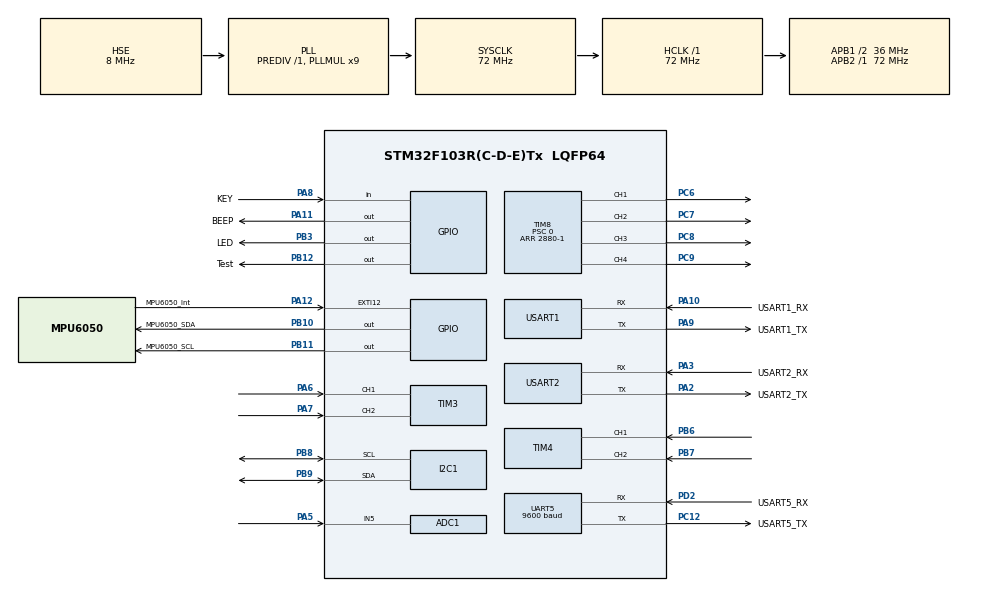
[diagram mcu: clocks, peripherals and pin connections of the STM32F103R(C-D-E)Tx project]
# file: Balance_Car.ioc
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ADC1.Channel-0\#ChannelRegularConversion=ADC_CHANNEL_5
ADC1.NbrOfConversionFlag=1
ADC1.Rank-0\#ChannelRegularConversion=1
ADC1.SamplingTime-0\#ChannelRegularConversion=ADC_SAMPLETIME_28CYCLES_5
ADC1.master=1
I2C1.DualAddressMode=I2C_DUALADDRESS_DISABLE
I2C1.I2C_Mode=I2C_Fast
I2C1.OwnAddress=0x01
Mcu.Family=STM32F1
Mcu.Name=STM32F103R(C-D-E)Tx
Mcu.Package=LQFP64
NVIC.EXTI15_10_IRQn=true\:3\:2\:true\:false\:true\:true\:true\:true
NVIC.PriorityGroup=NVIC_PRIORITYGROUP_2
NVIC.TIM2_IRQn=true\:2\:1\:true\:false\:true\:true\:true\:true
NVIC.UART5_IRQn=true\:1\:2\:true\:false\:true\:true\:true\:true
NVIC.USART1_IRQn=true\:1\:2\:true\:false\:true\:true\:true\:true
NVIC.USART2_IRQn=true\:1\:0\:true\:false\:true\:true\:true\:true
PA0-WKUP.Signal=S_TIM2_CH1_ETR
PA10.GPIO_Label=USART1_RX
PA10.Mode=Asynchronous
PA10.Signal=USART1_RX
PA11.GPIO_Label=BEEP
PA11.Signal=GPIO_Output
PA12.GPIO_Label=MPU6050_Int
PA12.GPIO_ModeDefaultEXTI=GPIO_MODE_IT_RISING
PA12.GPIO_PuPd=GPIO_PULLUP
PA12.Signal=GPXTI12
PA2.GPIO_Label=USART2_TX
PA2.Mode=Asynchronous
PA2.Signal=USART2_TX
PA3.GPIO_Label=USART2_RX
PA3.Mode=Asynchronous
PA3.Signal=USART2_RX
PA5.Signal=ADCx_IN5
PA6.Signal=S_TIM3_CH1
PA7.Signal=S_TIM3_CH2
PA8.GPIO_Label=KEY
PA8.GPIO_PuPd=GPIO_PULLUP
PA8.Signal=GPIO_Input
PA9.GPIO_Label=USART1_TX
PA9.Mode=Asynchronous
PA9.Signal=USART1_TX
PB10.GPIO_Label=MPU6050_SDA
PB10.GPIO_Speed=GPIO_SPEED_FREQ_HIGH
PB10.Signal=GPIO_Output
PB11.GPIO_Label=MPU6050_SCL
PB11.GPIO_Speed=GPIO_SPEED_FREQ_HIGH
PB11.PinState=GPIO_PIN_RESET
PB11.Signal=GPIO_Output
PB12.GPIO_Label=Test
PB12.PinState=GPIO_PIN_RESET
PB12.Signal=GPIO_Output
PB3.GPIO_Label=LED
PB3.Signal=GPIO_Output
PB6.Signal=S_TIM4_CH1
PB7.Signal=S_TIM4_CH2
PB8.Mode=I2C
PB8.Signal=I2C1_SCL
PB9.Mode=I2C
PB9.Signal=I2C1_SDA
PC12.GPIO_Label=USART5_TX
PC12.Mode=Asynchronous
PC12.Signal=UART5_TX
PC6.Signal=S_TIM8_CH1
PC7.Signal=S_TIM8_CH2
PC8.Signal=S_TIM8_CH3
PC9.Signal=S_TIM8_CH4
PD0-OSC_IN.Mode=HSE-External-Oscillator
PD0-OSC_IN.Signal=RCC_OSC_IN
PD1-OSC_OUT.Mode=HSE-External-Oscillator
PD1-OSC_OUT.Signal=RCC_OSC_OUT
PD2.GPIO_Label=USART5_RX
PD2.Mode=Asynchronous
PD2.Signal=UART5_RX
ProjectManager.HeapSize=0x200
ProjectManager.StackSize=0x400
ProjectManager.TargetToolchain=MDK-ARM V5.32
RCC.ADCPresc=RCC_ADCPCLK2_DIV6
RCC.AHBFreq_Value=72000000
RCC.APB1CLKDivider=RCC_HCLK_DIV2
RCC.APB1Freq_Value=36000000
RCC.APB1TimFreq_Value=72000000
RCC.APB2Freq_Value=72000000
RCC.APB2TimFreq_Value=72000000
RCC.HCLKFreq_Value=72000000
RCC.PLLMUL=RCC_PLL_MUL9
RCC.PLLSourceVirtual=RCC_PLLSOURCE_HSE
RCC.SYSCLKFreq_VALUE=72000000
RCC.SYSCLKSource=RCC_SYSCLKSOURCE_PLLCLK
RCC.USBFreq_Value=72000000
SH.ADCx_IN5.0=ADC1_IN5,IN5
SH.S_TIM2_CH1_ETR.0=TIM2_CH1
SH.S_TIM3_CH1.0=TIM3_CH1,Encoder_Interface
SH.S_TIM3_CH2.0=TIM3_CH2,Encoder_Interface
SH.S_TIM4_CH1.0=TIM4_CH1,Encoder_Interface
SH.S_TIM4_CH2.0=TIM4_CH2,Encoder_Interface
SH.S_TIM8_CH1.0=TIM8_CH1,PWM Generation1 CH1
SH.S_TIM8_CH2.0=TIM8_CH2,PWM Generation2 CH2
SH.S_TIM8_CH3.0=TIM8_CH3,PWM Generation3 CH3
SH.S_TIM8_CH4.0=TIM8_CH4,PWM Generation4 CH4
TIM2.Period=1000-1
TIM2.Prescaler=720-1
TIM3.EncoderMode=TIM_ENCODERMODE_TI12
TIM4.EncoderMode=TIM_ENCODERMODE_TI12
TIM8.AutoReloadPreload=TIM_AUTORELOAD_PRELOAD_ENABLE
TIM8.Channel-PWM\ Generation1\ CH1=TIM_CHANNEL_1
TIM8.Channel-PWM\ Generation2\ CH2=TIM_CHANNEL_2
TIM8.Channel-PWM\ Generation3\ CH3=TIM_CHANNEL_3
TIM8.Channel-PWM\ Generation4\ CH4=TIM_CHANNEL_4
TIM8.Period=2880-1
TIM8.Prescaler=0
UART5.BaudRate=9600
UART5.VirtualMode=Asynchronous
USART1.VirtualMode=VM_ASYNC
USART2.VirtualMode=VM_ASYNC
VP_SYS_VS_ND.Mode=No_Debug
VP_TIM2_VS_ClockSourceINT.Mode=Internal
VP_TIM8_VS_ClockSourceINT.Mode=Internal
board=custom

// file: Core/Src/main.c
/* USER CODE BEGIN Header */
/**
 ******************************************************************************
 * @file           : main.c
 * @brief          : Main program body
 ******************************************************************************
 * @attention
 *
 * Copyright (c) 2025 STMicroelectronics.
 * All rights reserved.
 *
 * This software is licensed under terms that can be found in the LICENSE file
 * in the root directory of this software component.
 * If no LICENSE file comes with this software, it is provided AS-IS.
 *
 ******************************************************************************
 */
/* USER CODE END Header */
#include "main.h"
#include "adc.h"
#include "gpio.h"
#include "i2c.h"
#include "tim.h"
#include "usart.h"

/* USER CODE BEGIN Includes */
/* 用户包含部分 - 在此处添加包含文件 */

/* 用户包含结束 */
/* USER CODE END Includes */

/* USER CODE BEGIN PTD */
/* 私有类型定义部分 - 在此处添加结构体、枚举等类型定义 */

/* 私有类型定义结束 */
/* USER CODE END PTD */

/* USER CODE BEGIN PD */
/* 私有宏定义部分 - 在此处添加宏定义 */

/* 私有宏定义结束 */
/* USER CODE END PD */

/* USER CODE BEGIN PM */
/* 私有宏函数部分 - 在此处添加宏函数 */

/* 私有宏函数结束 */
/* USER CODE END PM */

/* USER CODE BEGIN PV */
/* 私有变量部分 - 在此处声明全局变量 */
//
uint8_t GET_Angle_Way = 2; // 获取角度的算法，1：四元数  2：卡尔曼  3：互补滤波  //Algorithm for obtaining angles, 1: Quaternion 2: Kalman 3: Complementary filtering
float Angle_Balance, Gyro_Balance, Gyro_Turn; // 平衡倾角 平衡陀螺仪 转向陀螺仪 //Balance tilt angle balance gyroscope steering gyroscope
int Motor_Left, Motor_Right;                  // 电机PWM变量 //Motor PWM variable
int Temperature;                              // 温度变量 		//Temperature variable
float Acceleration_Z;                         // Z轴加速度计  //Z-axis accelerometer
int Mid_Angle;                                // 机械中值  //Mechanical median
float Move_X, Move_Z;                         // Move_X:前进速度  Move_Z：转向速度  //Move_X: Forward speed Move_Z: Steering speed
u8 Stop_Flag = 1;                             // 0:开始 1:停止  //0: Start 1: Stop
// pid控制相关变量
int Encoder_Left, Encoder_Right;         // 左右编码器的脉冲计数 Pulse counting of left and right encoders
int Balance_Pwm, Velocity_Pwm, Turn_Pwm; // 平衡环PWM变量，速度环PWM变量，转向环PWM变 Balance loop PWM variable, speed loop PWM variable, steering loop PWM variable
extern int curSpeed_left;                // 左轮当前速度(rpm)
extern int curSpeed_right;               // 右轮当前速度(rpm)
extern int goalSpeed_left;               // 左轮电机的目标速度(rpm)
extern int goalSpeed_right;              // 左轮电机的目标速度(rpm)
// pid模式
int pid_mode = 3; // PID控制模式选择，0为位置式，1为增量式，3为不启用模式切换
// pid位置模式相关变量
extern int lastError_left;  // 左轮上次误差(rpm)即目标速度为300而当前速度为0则初始误差为300
extern int lastError_right; // 右轮上次误差(rpm)即目标速度为300而当前速度为0则初始误差为300
// pid增量模式相关变量
extern int incrLastError_left;  // 左轮上次误差
extern int incrPrevError_left;  // 左轮前次误差
extern int incrLastError_right; // 右轮上次误差
extern int incrPrevError_right; // 右轮前次误差
// 陀螺仪相关变量
int grov_check = 1;      // 陀螺仪检测模式选择，0为开启，1为关闭
float *grov_data = NULL; // 用于存储陀螺仪数据的指针变量
// 串口数据缓冲区
uint8_t usart1_txbuf[64] = {0}; // 用于usart1发送缓冲区，电脑串口
uint8_t usart1_rxbuf[64] = {0}; // 用于usart1接收缓冲区，电脑串口
uint8_t usart2_txbuf[64] = {0}; // 用于usart2发送缓冲区，蓝牙串口
uint8_t usart2_rxbuf[64] = {0}; // 用于usart2接收缓冲区，蓝牙串口
uint8_t usart5_txbuf[64] = {0}; // 用于usart5发送缓冲区，k210串口
uint8_t usart5_rxbuf[64] = {0}; // 用于usart5接收缓冲区，k210串口
// 用于串口命令处理
uint8_t *command_point = NULL;           // 用于指向命令字符串中的参数位置
uint16_t rxlen = 0;                      // 实际接收到的数据长度
uint8_t ctrl_flag = 0;                   // 串口控制标志位 - 是否开启串口接收控制（以及复用于初始化后的模式选择循环状态标志）
int8_t beep_flag = 0;                    // 蜂鸣器标志位 - 控制蜂鸣器响的时间
int left_speed = 0;                      // 左轮占空比
int right_speed = 0;                     // 右轮占空比
int goalSpeed_left_temp = DefaultSpeed;  // 左轮逐渐递减减速，防止过快降速导致电机齿轮冲击损坏
int goalSpeed_right_temp = DefaultSpeed; // 右轮逐渐递减减速，防止过快降速导致电机齿轮冲击损坏
// 选择小车工作模式相关变量
// Car_Mode enum_mode = 0; // 小车工作模式枚举体
uint8_t mode_id = 0;         // 选择模式的id
int mode_select_encoder = 0; // 选择模式的旋钮编码器值
/* 私有变量结束 */
/* USER CODE END PV */

void SystemClock_Config(void);
/* USER CODE BEGIN PFP */
/* 私有函数声明部分 - 在此处添加函数声明 */

/* 私有函数声明结束 */
/* USER CODE END PFP */

/* USER CODE BEGIN 0 */
/* 私有函数实现部分 - 在此处实现自定义函数 */

void HAL_UARTEx_RxEventCallback(UART_HandleTypeDef *huart, uint16_t Size) {
    if (huart->Instance == USART1) {
        usart1_rxbuf[Size] = '\0'; // 确保字符串以null结尾
        sprintf((char *)usart1_txbuf, "收到[%d]字节数据：%s\r\n", Size, usart1_rxbuf);
        HAL_UART_Transmit(&huart1, usart1_txbuf, strlen((char *)usart1_txbuf), HAL_MAX_DELAY);
        if (ctrl_flag) {
            if (strstr((const char *)usart1_rxbuf, "LED_ON") != NULL) {
                LED_ON;
                printf("成功执行命令[LED_ON] - LED点亮\r\n");
            }
            if (strstr((const char *)usart1_rxbuf, "LED_OFF") != NULL) {
                LED_OFF;
                printf("成功执行命令[LED_OFF] - LED熄灭\r\n");
            }
            if (strstr((const char *)usart1_rxbuf, "BEEP_ON") != NULL) {
                BEEP_ON;
                printf("成功执行命令[BEEP_ON] - 蜂鸣器开启\r\n");
            }
            if (strstr((const char *)usart1_rxbuf, "BEEP_OFF") != NULL) {
                BEEP_OFF;
                printf("成功执行命令[BEEP_OFF] - 蜂鸣器关闭\r\n");
            }
            // 使用sscanf函数只从开始处解析获取数值，需要使用指针参数从字符串中找到参数位置，然后才能执行命令解析
            if ((command_point = (uint8_t *)strstr((const char *)usart1_rxbuf, "left=")) != NULL) {
                sscanf((const char *)command_point, "left=%d", &left_speed);
                motor_control(left_speed, right_speed);
                printf("成功执行命令[left] - 左速度：%d\r\n", left_speed);
            }
            if ((command_point = (uint8_t *)strstr((const char *)usart1_rxbuf, "right=")) != NULL) {
                sscanf((const char *)command_point, "right=%d", &right_speed);
                motor_control(left_speed, right_speed);
                printf("成功执行命令[right] - 右速度：%d\r\n", right_speed);
            }
            if ((command_point = (uint8_t *)strstr((const char *)usart1_rxbuf, "speed=")) != NULL) {
                sscanf((const char *)command_point, "speed=%d,%d", &goalSpeed_left_temp, &goalSpeed_right_temp);
                printf("成功执行命令[speed] - 左速度：%d，右速度%d\r\n", goalSpeed_left_temp, goalSpeed_right_temp);
            }
            if ((command_point = (uint8_t *)strstr((const char *)usart1_rxbuf, "pid mode=")) != NULL) {
                sscanf((const char *)command_point, "pid mode=%d", &pid_mode);
                printf("成功执行命令[pid mode] - pid模式：%s\r\n", pid_mode == 0 ? "位置式" : "增量式");
                // 切换模式时重置相关变量
                // 位置式
                if (pid_mode == 0) {
                    lastError_left = goalSpeed_left - curSpeed_left;    // 左轮上次误差(rpm)，由于首次目标速度为300且当前速度为0，所以初始误差为300
                    lastError_right = goalSpeed_right - curSpeed_right; // 右轮上次误差(rpm)，由于首次目标速度为300且当前速度为0，所以初始误差为300
                }
                // 增量式
                if (pid_mode == 1) {
                    incrLastError_left = goalSpeed_left - curSpeed_left;    // 左轮上次误差
                    incrPrevError_left = goalSpeed_left - curSpeed_left;    // 左轮前次误差
                    incrLastError_right = goalSpeed_right - curSpeed_right; // 右轮上次误差
                    incrPrevError_right = goalSpeed_right - curSpeed_right; // 右轮前次误差
                }
            }
            if ((command_point = (uint8_t *)strstr((const char *)usart1_rxbuf, "grov check=")) != NULL) {
                sscanf((const char *)command_point, "grov check=%d", &grov_check);
                printf("成功执行命令[pid mode] - 陀螺仪检测：%s\r\n", grov_check == 0 ? "关闭" : "开启");
            }
        }
    }
    if (huart->Instance == USART2) {
        usart2_rxbuf[Size] = '\0'; // 确保字符串以null结尾
        printf("[USART2]收到[%d]字节数据：%s\r\n", Size, usart2_rxbuf);
        if (strstr((const char *)usart2_rxbuf, "person") != NULL) {
            BEEP_ON;
            beep_flag = 100; // 设置蜂鸣器持续时间(ms)
            printf("有人！有人！\r\n");
        }
    }
    if (huart->Instance == UART5) { // 确认是UART5中断
        // 使用usart1回显数据
        usart5_rxbuf[Size] = '\0'; // 确保字符串以null结尾
        printf("[USART5]收到[%d]字节数据：%s\r\n", Size, usart5_rxbuf);
        // deal_bluetooth(rx5_temp); // 处理蓝牙数据
    }
    // 重新使能接收中断（HAL库接收一次后会自动关闭中断，需手动重新使能）
    HAL_UARTEx_ReceiveToIdle_IT(&huart1, usart1_rxbuf, sizeof(usart1_rxbuf));
    HAL_UARTEx_ReceiveToIdle_IT(&huart2, usart2_rxbuf, sizeof(usart2_rxbuf));
    HAL_UARTEx_ReceiveToIdle_IT(&huart5, usart5_rxbuf, sizeof(usart5_rxbuf));
}

static int tim2_cnt = 0; // 定时器计数器变量
void HAL_TIM_PeriodElapsedCallback(TIM_HandleTypeDef *htim) {
    // 判断是否是目标定时器（避免多个定时器中断冲突）
    if (htim->Instance == TIM2) {
        tim2_cnt++;
        if (beep_flag >= 0) {
            beep_flag -= 10;
        } else {
            BEEP_OFF;
        }
        // 每10ms执行一次PID控制
        if (pid_mode == 0) {
            // 左轮降速缓冲
            if (goalSpeed_left - goalSpeed_left_temp > 5) {
                goalSpeed_left -= 5;
            } else {
                goalSpeed_left = goalSpeed_left_temp;
            }
            // 右轮降速缓冲
            if (goalSpeed_right - goalSpeed_right_temp > 5) {
                goalSpeed_right -= 5;
            } else {
                goalSpeed_right = goalSpeed_right_temp;
            }
            position_control_speed(10);
        } else if (pid_mode == 1) {
            // 左轮降速缓冲
            if (goalSpeed_left - goalSpeed_left_temp > 5) {
                goalSpeed_left -= 5;
            } else {
                goalSpeed_left = goalSpeed_left_temp;
            }
            // 右轮降速缓冲
            if (goalSpeed_right - goalSpeed_right_temp > 5) {
                goalSpeed_right -= 5;
            } else {
                goalSpeed_right = goalSpeed_right_temp;
            }
            increment_control_speed(10);
        }
        if (0) {
            printf("01\r\n");
            // 检查是否发生中断事件  Check if any interruption events have occurred
            Get_Angle(GET_Angle_Way); // 更新姿态，5ms一次，更高的采样频率可以改善卡尔曼滤波和互补滤波的效果  //Updating the posture once every 5ms, a higher sampling frequency can
                                      // improve the effectiveness of Kalman filtering and complementary filtering
            Encoder_Left = Read_Encoder(0);   // 读取左轮编码器的值，前进为正，后退为负   //Read the value of the left wheel encoder, forward is positive, backward is negative
            Encoder_Right = -Read_Encoder(1); // 读取右轮编码器的值，前进为正，后退为负   //Read the value of the right wheel encoder, forward is positive, backward is negative
            Get_Velocity_Form_Encoder(Encoder_Left, Encoder_Right); // 获取速度 Obtain speed

            Balance_Pwm = Balance_PD(Angle_Balance, Gyro_Balance);   // 平衡PID控制 Gyro_Balance平衡角速度极性：前倾为正，后倾为负   //Balance PID control gyro balance angular
                                                                     // velocity polarity: forward tilt is positive, backward tilt is negative
            Velocity_Pwm = Velocity_PI(Encoder_Left, Encoder_Right); // 速度环PID控制	记住，速度反馈是正反馈   //Speed loop PID control. Remember, speed feedback is positive
                                                                     // feedback
            // Velocity_Pwm = 0;
            Motor_Left = Balance_Pwm + Velocity_Pwm + Turn_Pwm;  // 计算左轮电机最终PWM Calculate the final PWM of the left wheel motor
            Motor_Right = Balance_Pwm + Velocity_Pwm - Turn_Pwm; // 计算右轮电机最终PWM Calculate the final PWM of the right wheel motor
                                                                 // PWM值正数使小车前进，负数使小车后退 Interrupt callback function

            // 滤掉死区
            Motor_Left = PWM_Ignore(Motor_Left);
            Motor_Right = PWM_Ignore(Motor_Right);

            // PWM限幅 PWM limiting
            Motor_Left = PWM_Limit(Motor_Left, 2600, -2600); // 25khz->2592
            Motor_Right = PWM_Limit(Motor_Right, 2600, -2600);

            Set_Pwm(Motor_Left, Motor_Right); // 赋值给PWM寄存器 	Assign to PWM register
        }
    }
}
int cnt = 0;
// EXTI12
// static u8 exti_print_cnt; // 打印计数器变量，用于外部中断回调函数中，防止频繁打印数据
void HAL_GPIO_EXTI_Callback(uint16_t GPIO_Pin) {

    //
    //		//只有正常模式下检测小车的拿去和放下(姿态检测) Only in normal mode can the detection of the taking and lowering of the car be carried out (posture detection)
    //		if(mode_id == Normal)
    //		{
    //			if(Pick_Up(Acceleration_Z,Angle_Balance,Encoder_Left,Encoder_Right))//检查是否小车被拿起 Check if the car has been picked up
    //				Stop_Flag=1;	                           					//如果被拿起就关闭电机 If picked up, turn off the motor
    //			if(Put_Down(Angle_Balance,Encoder_Left,Encoder_Right))//检查是否小车被放下 Check if the car has been lowered
    //				Stop_Flag=0;	                           					//如果被放下就启动电机 If it is put down, start the motor
    //		}

    //		if(Turn_Off(Angle_Balance,battery)==0)     					//如果不存在异常 		If there are no abnormalities
    //			motor_control(Motor_Left,Motor_Right);         					//赋值给PWM寄存器 	Assign to PWM register
    if (GPIO_Pin == MPU6050_Int_Pin) {
        // 检查是否发生中断事件  Check if any interruption events have occurred
        Get_Angle(GET_Angle_Way); // 更新姿态，5ms一次，更高的采样频率可以改善卡尔曼滤波和互补滤波的效果  //Updating the posture once every 5ms, a higher sampling frequency can
                                  // improve the effectiveness of Kalman filtering and complementary filtering
        Encoder_Left = Read_Encoder(0);   // 读取左轮编码器的值，前进为正，后退为负   //Read the value of the left wheel encoder, forward is positive, backward is negative
        Encoder_Right = -Read_Encoder(1); // 读取右轮编码器的值，前进为正，后退为负   //Read the value of the right wheel encoder, forward is positive, backward is negative
        Get_Velocity_Form_Encoder(Encoder_Left, Encoder_Right);  // 获取速度 Obtain speed
        Balance_Pwm = Balance_PD(Angle_Balance, Gyro_Balance);   // 平衡PID控制 Gyro_Balance平衡角速度极性：前倾为正，后倾为负   //Balance PID control gyro balance angular velocity
        Velocity_Pwm = Velocity_PI(Encoder_Left, Encoder_Right); // 速度环PID控制	记住，速度反馈是正反馈   //Speed loop PID control. Remember, speed feedback is positive
                                                                 // feedback
        Turn_Pwm = Turn_PD(Gyro_Turn);
        //			if(cnt++%100==0)
        //				printf("Balance_Pwm=%.d,Velocity_Pwm=%.d\r\n",Balance_Pwm,Velocity_Pwm);
        Motor_Left = Balance_Pwm + Velocity_Pwm + Turn_Pwm;  // 计算左轮电机最终PWM Calculate the final PWM of the left wheel motor
        Motor_Right = Balance_Pwm + Velocity_Pwm - Turn_Pwm; // 计算右轮电机最终PWM Calculate the final PWM of the right wheel motor
                                                             // PWM值正数使小车前进，负数使小车后退 Interrupt callback function

        // 滤掉死区
        Motor_Left = PWM_Ignore(Motor_Left);
        Motor_Right = PWM_Ignore(Motor_Right);

        // PWM限幅 PWM limiting
        Motor_Left = PWM_Limit(Motor_Left, 2600, -2600); // 25khz->2592
        Motor_Right = PWM_Limit(Motor_Right, 2600, -2600);

        Set_Pwm(Motor_Left, Motor_Right); // 赋值给PWM寄存器 	Assign to PWM register
    }
}

/* 私有函数实现结束 */
/* USER CODE END 0 */

int main(void) {

    /* USER CODE BEGIN 1 */
    /* 系统初始化前处理 - 在此处添加HAL初始化之前的代码 */
    // uint32_t adc_val = 0;
    // uint8_t adc_txbuf[64] = {0};
    // double V_bat = 0.0;
    // short left_val = 0;
    // short right_val = 0;

    /* 系统初始化前结束 */
    /* USER CODE END 1 */

    /* MCU Configuration--------------------------------------------------------*/

    /* Reset of all peripherals, Initializes the Flash interface and the Systick. */
    HAL_Init();

    /* USER CODE BEGIN Init */
    /* 时钟初始化前处理 - 在此处添加时钟初始化前的代码 */

    /* 时钟初始化前结束 */
    /* USER CODE END Init */

    /* Configure the system clock */
    SystemClock_Config();

    /* USER CODE BEGIN SysInit */
    /* 系统初始化前处理 - 在此处添加系统初始化前的代码 */

    /* 系统初始化前结束 */
    /* USER CODE END SysInit */

    /* Initialize all configured peripherals */
    MX_GPIO_Init();
    MX_USART1_UART_Init();
    MX_ADC1_Init();
    MX_TIM8_Init();
    MX_TIM3_Init();
    MX_TIM4_Init();
    MX_I2C1_Init();
    MX_TIM2_Init();
    MX_UART5_Init();
    MX_USART2_UART_Init();
    /* USER CODE BEGIN 2 */
    /* 程序初始化部分 - 在此处添加进入循环前的代码 */
    HAL_NVIC_DisableIRQ(EXTI15_10_IRQn);
    delay_init();
    /* OLED初始化 */
    printf("OLED Initing...\r\n");
    OLED_I2C_Init();
    OLED_Draw_Line("OLED Initing...", 1, true, true);

    /* 定时器初始化 */
    printf("TIM Initing...\r\n");

    HAL_TIM_Encoder_Start(&htim3, TIM_CHANNEL_ALL); // 启动TIM3编码器接口
    HAL_TIM_Encoder_Start(&htim4, TIM_CHANNEL_ALL); // 启动TIM4编码器接口

    /* 初始化模式选择 */
    printf("Mode Selecting...\r\n");
    while (!ctrl_flag) {
        // 获取左右轮编码器的值，有变化时更新模式选择
        mode_select_encoder = encoder_left_getval() + encoder_right_getval();
        if (mode_select_encoder > 1 && (mode_id < Mode_Max - 1)) {
            mode_id++;
            printf("mode=%d\r\n", mode_id);
        } else if (mode_select_encoder < -1 && (mode_id > 0)) {
            mode_id--;
            printf("mode=%d\r\n", mode_id);
        }
        if (KEY_PRESS) {
            // 按键处理
            delay_ms(20);
            if (KEY_PRESS) {
                ctrl_flag = !ctrl_flag;
            }
        }
        OLED_Draw_Line("Select Mode>>>Key1", 1, false, true);
        OLED_Draw_Line(CarModeToString(mode_id), 2, true, true);
    }
    OLED_Draw_Line("Current Mode>>>   ", 1, false, true);
    select_mode(mode_id); // 选择模式，参照enabled_mode_arr数组

    OLED_Draw_Line("System Initing...", 3, false, true);
    printf("System Initing...\r\n");

    /* 串口中断初始化 */
    printf("USART Initing...\r\n");
    HAL_UARTEx_ReceiveToIdle_IT(&huart1, usart1_rxbuf, sizeof(usart1_rxbuf)); // 电脑串口
                                                                              // HAL_UARTEx_ReceiveToIdle_IT(&huart2, usart2_rxbuf, sizeof(usart2_rxbuf)); // K210串口
    HAL_UARTEx_ReceiveToIdle_IT(&huart5, usart5_rxbuf, sizeof(usart5_rxbuf)); // 蓝牙串口
    /* 电机初始化 */
    printf("MOTOR Initing...");
    HAL_TIM_PWM_Start(&htim8, TIM_CHANNEL_1); // 启动TIM8的PWM CH1
    HAL_TIM_PWM_Start(&htim8, TIM_CHANNEL_2); // 启动TIM8的PWM CH2
    HAL_TIM_PWM_Start(&htim8, TIM_CHANNEL_3); // 启动TIM8的PWM CH3
    HAL_TIM_PWM_Start(&htim8, TIM_CHANNEL_4); // 启动TIM8的PWM CH4

    /* 串口初始化 */
    HAL_TIM_Base_Start_IT(&htim2);

    /* 电池检测初始化 */
    Battery_init();

    /* 陀螺仪初始化 */
    printf("Grov Initing...\r\n");

    MPU6050_initialize(); // 陀螺仪初始化 Gyroscope range initialization
    DMP_Init();           // DMP初始化 DMP initialization
    MPU6050_EXTI_Init();  // 平衡服务  Balanced Services

    OLED_Draw_Line("System Init Ready!", 3, false, true);
    printf("System Init Ready!\r\n");

    OLED_Draw_Line("Main While>>>", 4, false, true);
    printf("Main While>>>\r\n");

    /* 程序初始化结束 */
    /* USER CODE END 2 */

    /* Infinite loop */
    /* USER CODE BEGIN WHILE */
    /* 无限循环部分 - 在此处添加需要循环执行的代码 */
    while (1) {
        // grov_data = Read_DMP();
        //  陀螺仪数据输出

        //        if (tim2_cnt > 100) {
        //            if (grov_check == 1) {
        //                printf("roll=%.1f, pitch=%.1f, yaw=%.1f\n", grov_data[0], grov_data[1], grov_data[2]);
        //            }
        //            tim2_cnt = 0;
        //            printf("curSpeed_left:%d,curSpeed_right:%d\r\n", curSpeed_left, curSpeed_right);
        //						battery = Get_Battery_Volotage();
        //						printf("current battery level:%.2f\r\n",battery);
        //        }

        if (KEY_PRESS) {
            // 按键处理
            delay_ms(20);
            if (KEY_PRESS) {
                ctrl_flag = !ctrl_flag;
                if (ctrl_flag) {
                    printf("串口控制开启\r\n");
                    printf("可用命令：\r\n"
                           "-[LED_ON]：打开LED\r\n"
                           "-[LED_OFF]：关闭LED\r\n"
                           "-[BEEP_ON]：打开蜂鸣器\r\n"
                           "-[BEEP_OFF]：关闭蜂鸣器\r\n"
                           "-[speed=左轮速度,右轮速度]：控制左轮右轮速度，支持正反\r\n"
                           "-[pid mode=0/1]:0为位置式，1为增量式\r\n"
                           "-[grov check=0/1]:0为关闭陀螺仪数据，1为显示陀螺仪数据\r\n ");
                } else {
                    printf("串口控制关闭\r\n");
                }
                while (KEY_PRESS)
                    ; // 等待按键释放
            }
        }
    }
    /* 无限循环结束 */
    /* USER CODE END WHILE */

    /* USER CODE BEGIN 3 */
    /* 无限循环部分 - 在此处添加循环执行的代码 */

    /* 无限循环结束 */
    /* USER CODE END 3 */
}

void SystemClock_Config(void) {
    RCC_OscInitTypeDef RCC_OscInitStruct = {0};
    RCC_ClkInitTypeDef RCC_ClkInitStruct = {0};
    RCC_PeriphCLKInitTypeDef PeriphClkInit = {0};

    /** Initializes the RCC Oscillators according to the specified parameters
     * in the RCC_OscInitTypeDef structure.
     */
    RCC_OscInitStruct.OscillatorType = RCC_OSCILLATORTYPE_HSE;
    RCC_OscInitStruct.HSEState = RCC_HSE_ON;
    RCC_OscInitStruct.HSEPredivValue = RCC_HSE_PREDIV_DIV1;
    RCC_OscInitStruct.HSIState = RCC_HSI_ON;
    RCC_OscInitStruct.PLL.PLLState = RCC_PLL_ON;
    RCC_OscInitStruct.PLL.PLLSource = RCC_PLLSOURCE_HSE;
    RCC_OscInitStruct.PLL.PLLMUL = RCC_PLL_MUL9;
    if (HAL_RCC_OscConfig(&RCC_OscInitStruct) != HAL_OK) {
        Error_Handler();
    }

    /** Initializes the CPU, AHB and APB buses clocks
     */
    RCC_ClkInitStruct.ClockType = RCC_CLOCKTYPE_HCLK | RCC_CLOCKTYPE_SYSCLK | RCC_CLOCKTYPE_PCLK1 | RCC_CLOCKTYPE_PCLK2;
    RCC_ClkInitStruct.SYSCLKSource = RCC_SYSCLKSOURCE_PLLCLK;
    RCC_ClkInitStruct.AHBCLKDivider = RCC_SYSCLK_DIV1;
    RCC_ClkInitStruct.APB1CLKDivider = RCC_HCLK_DIV2;
    RCC_ClkInitStruct.APB2CLKDivider = RCC_HCLK_DIV1;

    if (HAL_RCC_ClockConfig(&RCC_ClkInitStruct, FLASH_LATENCY_2) != HAL_OK) {
        Error_Handler();
    }
    PeriphClkInit.PeriphClockSelection = RCC_PERIPHCLK_ADC;
    PeriphClkInit.AdcClockSelection = RCC_ADCPCLK2_DIV6;
    if (HAL_RCCEx_PeriphCLKConfig(&PeriphClkInit) != HAL_OK) {
        Error_Handler();
    }
}

/* USER CODE BEGIN 4 */
/* 用户自定义函数部分 - 在此处添加用户自定义函数 */

/* 用户自定义函数结束 */
/* USER CODE END 4 */

void Error_Handler(void) {
    /* USER CODE BEGIN Error_Handler_Debug */
    /* 错误处理调试部分 - 在此处添加错误处理的代码 */
    __disable_irq();
    while (1) {
    }
    /* 错误处理调试结束 */
    /* USER CODE END Error_Handler_Debug */
}
#ifdef USE_FULL_ASSERT
/**
 * @brief  Reports the name of the source file and the source line number
 *         where the assert_param error has occurred.
 * @param  file: pointer to the source file name
 * @param  line: assert_param error line source number
 * @retval None
 */
void assert_failed(uint8_t *file, uint32_t line) {
    /* USER CODE BEGIN 6 */
    /* 断言失败处理函数 - 在此处添加断言失败的处理代码 */
    printf("断言失败: 文件 %s 第 %d 行\r\n", file, line);

    /* 断言失败处理结束 */
    /* USER CODE END 6 */
}
#endif /* USE_FULL_ASSERT */
